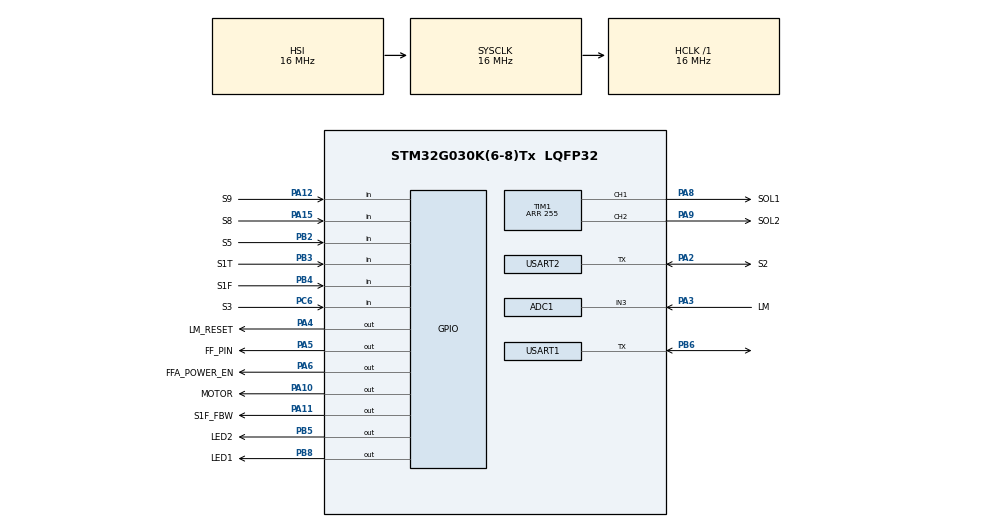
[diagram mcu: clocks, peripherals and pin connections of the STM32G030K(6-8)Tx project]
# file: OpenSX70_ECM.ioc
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ADC1.AWD1HighThreshold=4095
ADC1.AWD1ITMode=ENABLE
ADC1.Channel-0\#ChannelRegularConversion=ADC_CHANNEL_3
ADC1.ContinuousConvMode=ENABLE
ADC1.EnableAnalogWatchDog1=true
ADC1.EnableAnalogWatchDog2=false
ADC1.EnableAnalogWatchDog3=false
ADC1.NbrOfConversion=1
ADC1.NbrOfConversionFlag=1
ADC1.Rank-0\#ChannelRegularConversion=1
ADC1.SamplingTime-0\#ChannelRegularConversion=ADC_SAMPLINGTIME_COMMON_1
ADC1.SelectedChannel=ADC_CHANNEL_3
ADC1.master=1
Mcu.Family=STM32G0
Mcu.Name=STM32G030K(6-8)Tx
Mcu.Package=LQFP32
NVIC.ADC1_IRQn=true\:0\:0\:false\:false\:true\:true\:true\:true
NVIC.TIM14_IRQn=true\:0\:0\:false\:false\:true\:true\:true\:true
NVIC.TIM16_IRQn=true\:0\:0\:false\:false\:true\:true\:true\:true
NVIC.TIM17_IRQn=true\:0\:0\:false\:false\:true\:true\:true\:true
NVIC.TIM3_IRQn=true\:0\:0\:false\:false\:true\:true\:true\:true
NVIC.USART1_IRQn=true\:0\:0\:false\:false\:true\:true\:true\:true
NVIC.USART2_IRQn=true\:0\:0\:false\:false\:true\:true\:true\:true
PA10.GPIO_Label=MOTOR
PA10.Signal=GPIO_Output
PA11\ [PA9].GPIO_Label=S1F_FBW
PA11\ [PA9].Signal=GPIO_Output
PA12\ [PA10].GPIO_Label=S9
PA12\ [PA10].Signal=GPIO_Input
PA13.Mode=Serial_Wire
PA13.Signal=SYS_SWDIO
PA14-BOOT0.Mode=Serial_Wire
PA14-BOOT0.Signal=SYS_SWCLK
PA15.GPIO_Label=S8
PA15.Signal=GPIO_Input
PA2.GPIO_Label=S2
PA2.Mode=Half_duplex(single_wire_mode)
PA2.Signal=USART2_TX
PA3.GPIO_Label=LM
PA3.Mode=IN3
PA3.Signal=ADC1_IN3
PA4.GPIO_Label=LM_RESET
PA4.GPIO_Speed=GPIO_SPEED_FREQ_VERY_HIGH
PA4.Signal=GPIO_Output
PA5.GPIO_Label=FF_PIN
PA5.Signal=GPIO_Output
PA6.GPIO_Label=FFA_POWER_EN
PA6.PinState=GPIO_PIN_SET
PA6.Signal=GPIO_Output
PA8.GPIO_Label=SOL1
PA8.Signal=S_TIM1_CH1
PA9.GPIO_Label=SOL2
PA9.Signal=S_TIM1_CH2
PB2.GPIO_Label=S5
PB2.GPIO_PuPd=GPIO_PULLUP
PB2.Signal=GPIO_Input
PB3.GPIO_Label=S1T
PB3.Signal=GPIO_Input
PB4.GPIO_Label=S1F
PB4.Signal=GPIO_Input
PB5.GPIO_Label=LED2
PB5.Signal=GPIO_Output
PB6.Mode=Half_duplex(single_wire_mode)
PB6.Signal=USART1_TX
PB7.Signal=USART1_RX
PB8.GPIO_Label=LED1
PB8.Signal=GPIO_Output
PC6.GPIO_Label=S3
PC6.GPIO_PuPd=GPIO_PULLUP
PC6.Signal=GPIO_Input
ProjectManager.HeapSize=0x200
ProjectManager.StackSize=0x400
ProjectManager.TargetToolchain=CMake
RCC.AHBFreq_Value=16000000
RCC.CortexFreq_Value=16000000
RCC.EXTERNAL_CLOCK_VALUE=12288000
RCC.HCLKFreq_Value=16000000
RCC.HSE_VALUE=8000000
RCC.HSI_VALUE=16000000
RCC.LSE_VALUE=32768
RCC.SYSCLKFreq_VALUE=16000000
RCC.VCOOutputFreq_Value=128000000
SH.S_TIM1_CH1.0=TIM1_CH1,PWM Generation1 CH1
SH.S_TIM1_CH2.0=TIM1_CH2,PWM Generation2 CH2
TIM1.Channel-PWM\ Generation1\ CH1=TIM_CHANNEL_1
TIM1.Channel-PWM\ Generation2\ CH2=TIM_CHANNEL_2
TIM1.Period=255
TIM14.Period=39999
TIM14.Prescaler=1
TIM16.Period=55999
TIM16.Prescaler=15
TIM17.Period=47999
TIM17.Prescaler=3
TIM3.Period=65501
TIM3.Prescaler=3663
USART1.BaudRate=9600
USART1.VirtualMode-Half_duplex(single_wire_mode)=VM_ASYNC
USART2.VirtualMode-Half_duplex(single_wire_mode)=VM_ASYNC
VP_TIM14_VS_ClockSourceINT.Mode=Enable_Timer
VP_TIM16_VS_ClockSourceINT.Mode=Enable_Timer
VP_TIM17_VS_ClockSourceINT.Mode=Enable_Timer
VP_TIM1_VS_ClockSourceINT.Mode=Internal
VP_TIM3_VS_ClockSourceINT.Mode=Internal
board=custom

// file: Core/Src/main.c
/* USER CODE BEGIN Header */
/**
  ******************************************************************************
  * @file           : main.c
  * @brief          : Main program body
  ******************************************************************************
  * @attention
  *
  * Copyright (c) 2025 STMicroelectronics.
  * All rights reserved.
  *
  * This software is licensed under terms that can be found in the LICENSE file
  * in the root directory of this software component.
  * If no LICENSE file comes with this software, it is provided AS-IS.
  *
  ******************************************************************************
  */
/* USER CODE END Header */
#include "main.h"

/* USER CODE BEGIN Includes */
#include "opensx70.h"
#include "camerafunctions.h"
#include "meter.h"
#include "pollers.h"
/* USER CODE END Includes */

ADC_HandleTypeDef hadc1;

TIM_HandleTypeDef htim1;
TIM_HandleTypeDef htim3;
TIM_HandleTypeDef htim14;
TIM_HandleTypeDef htim16;
TIM_HandleTypeDef htim17;

UART_HandleTypeDef huart1;
UART_HandleTypeDef huart2;

/* USER CODE BEGIN PV */
ADC_AnalogWDGConfTypeDef AnalogWDGConfig = {0};
/* USER CODE END PV */

void SystemClock_Config(void);
static void MX_GPIO_Init(void);
static void MX_ADC1_Init(void);
static void MX_TIM1_Init(void);
static void MX_USART1_UART_Init(void);
static void MX_USART2_UART_Init(void);
static void MX_TIM3_Init(void);
static void MX_TIM16_Init(void);
static void MX_TIM17_Init(void);
static void MX_TIM14_Init(void);

int main(void)
{

  /* MCU Configuration--------------------------------------------------------*/

  /* Reset of all peripherals, Initializes the Flash interface and the Systick. */
  HAL_Init();

  /* Configure the system clock */
  SystemClock_Config();

  /* Initialize all configured peripherals */
  MX_GPIO_Init();
  MX_ADC1_Init();
  MX_TIM1_Init();
  MX_USART1_UART_Init();
  MX_USART2_UART_Init();
  MX_TIM3_Init();
  MX_TIM16_Init();
  MX_TIM17_Init();
  MX_TIM14_Init();
  /* USER CODE BEGIN 2 */
  HAL_ADC_Start(&hadc1);
  /* USER CODE END 2 */

  /* Infinite loop */
  while (1)
  {

    /* USER CODE BEGIN 3 */
  opensx70_run_state_machine();

}
  /* USER CODE END 3 */
}

void SystemClock_Config(void)
{
  RCC_OscInitTypeDef RCC_OscInitStruct = {0};
  RCC_ClkInitTypeDef RCC_ClkInitStruct = {0};

  /** Configure the main internal regulator output voltage
  */
  HAL_PWREx_ControlVoltageScaling(PWR_REGULATOR_VOLTAGE_SCALE1);

  /** Initializes the RCC Oscillators according to the specified parameters
  * in the RCC_OscInitTypeDef structure.
  */
  RCC_OscInitStruct.OscillatorType = RCC_OSCILLATORTYPE_HSI;
  RCC_OscInitStruct.HSIState = RCC_HSI_ON;
  RCC_OscInitStruct.HSIDiv = RCC_HSI_DIV1;
  RCC_OscInitStruct.HSICalibrationValue = RCC_HSICALIBRATION_DEFAULT;
  RCC_OscInitStruct.PLL.PLLState = RCC_PLL_NONE;
  if (HAL_RCC_OscConfig(&RCC_OscInitStruct) != HAL_OK)
  {
    Error_Handler();
  }

  /** Initializes the CPU, AHB and APB buses clocks
  */
  RCC_ClkInitStruct.ClockType = RCC_CLOCKTYPE_HCLK|RCC_CLOCKTYPE_SYSCLK
                              |RCC_CLOCKTYPE_PCLK1;
  RCC_ClkInitStruct.SYSCLKSource = RCC_SYSCLKSOURCE_HSI;
  RCC_ClkInitStruct.AHBCLKDivider = RCC_SYSCLK_DIV1;
  RCC_ClkInitStruct.APB1CLKDivider = RCC_HCLK_DIV1;

  if (HAL_RCC_ClockConfig(&RCC_ClkInitStruct, FLASH_LATENCY_0) != HAL_OK)
  {
    Error_Handler();
  }
}

static void MX_ADC1_Init(void)
{

  ADC_AnalogWDGConfTypeDef AnalogWDGConfig = {0};
  ADC_ChannelConfTypeDef sConfig = {0};

  /** Configure the global features of the ADC (Clock, Resolution, Data Alignment and number of conversion)
  */
  hadc1.Instance = ADC1;
  hadc1.Init.ClockPrescaler = ADC_CLOCK_SYNC_PCLK_DIV2;
  hadc1.Init.Resolution = ADC_RESOLUTION_12B;
  hadc1.Init.DataAlign = ADC_DATAALIGN_RIGHT;
  hadc1.Init.ScanConvMode = ADC_SCAN_DISABLE;
  hadc1.Init.EOCSelection = ADC_EOC_SINGLE_CONV;
  hadc1.Init.LowPowerAutoWait = DISABLE;
  hadc1.Init.LowPowerAutoPowerOff = DISABLE;
  hadc1.Init.ContinuousConvMode = ENABLE;
  hadc1.Init.NbrOfConversion = 1;
  hadc1.Init.ExternalTrigConv = ADC_SOFTWARE_START;
  hadc1.Init.ExternalTrigConvEdge = ADC_EXTERNALTRIGCONVEDGE_NONE;
  hadc1.Init.DMAContinuousRequests = DISABLE;
  hadc1.Init.Overrun = ADC_OVR_DATA_PRESERVED;
  hadc1.Init.SamplingTimeCommon1 = ADC_SAMPLETIME_1CYCLE_5;
  hadc1.Init.SamplingTimeCommon2 = ADC_SAMPLETIME_1CYCLE_5;
  hadc1.Init.OversamplingMode = DISABLE;
  hadc1.Init.TriggerFrequencyMode = ADC_TRIGGER_FREQ_HIGH;
  if (HAL_ADC_Init(&hadc1) != HAL_OK)
  {
    Error_Handler();
  }

  /** Configure Analog WatchDog 1
  */
  AnalogWDGConfig.WatchdogNumber = ADC_ANALOGWATCHDOG_1;
  AnalogWDGConfig.WatchdogMode = ADC_ANALOGWATCHDOG_SINGLE_REG;
  AnalogWDGConfig.Channel = ADC_CHANNEL_3;
  AnalogWDGConfig.ITMode = ENABLE;
  AnalogWDGConfig.HighThreshold = 4095;
  AnalogWDGConfig.LowThreshold = 0;
  if (HAL_ADC_AnalogWDGConfig(&hadc1, &AnalogWDGConfig) != HAL_OK)
  {
    Error_Handler();
  }

  /** Configure Regular Channel
  */
  sConfig.Channel = ADC_CHANNEL_3;
  sConfig.Rank = ADC_REGULAR_RANK_1;
  sConfig.SamplingTime = ADC_SAMPLINGTIME_COMMON_1;
  if (HAL_ADC_ConfigChannel(&hadc1, &sConfig) != HAL_OK)
  {
    Error_Handler();
  }

}

static void MX_TIM1_Init(void)
{

  TIM_ClockConfigTypeDef sClockSourceConfig = {0};
  TIM_MasterConfigTypeDef sMasterConfig = {0};
  TIM_OC_InitTypeDef sConfigOC = {0};
  TIM_BreakDeadTimeConfigTypeDef sBreakDeadTimeConfig = {0};

  htim1.Instance = TIM1;
  htim1.Init.Prescaler = 0;
  htim1.Init.CounterMode = TIM_COUNTERMODE_UP;
  htim1.Init.Period = 255;
  htim1.Init.ClockDivision = TIM_CLOCKDIVISION_DIV1;
  htim1.Init.RepetitionCounter = 0;
  htim1.Init.AutoReloadPreload = TIM_AUTORELOAD_PRELOAD_DISABLE;
  if (HAL_TIM_Base_Init(&htim1) != HAL_OK)
  {
    Error_Handler();
  }
  sClockSourceConfig.ClockSource = TIM_CLOCKSOURCE_INTERNAL;
  if (HAL_TIM_ConfigClockSource(&htim1, &sClockSourceConfig) != HAL_OK)
  {
    Error_Handler();
  }
  if (HAL_TIM_PWM_Init(&htim1) != HAL_OK)
  {
    Error_Handler();
  }
  sMasterConfig.MasterOutputTrigger = TIM_TRGO_RESET;
  sMasterConfig.MasterOutputTrigger2 = TIM_TRGO2_RESET;
  sMasterConfig.MasterSlaveMode = TIM_MASTERSLAVEMODE_DISABLE;
  if (HAL_TIMEx_MasterConfigSynchronization(&htim1, &sMasterConfig) != HAL_OK)
  {
    Error_Handler();
  }
  sConfigOC.OCMode = TIM_OCMODE_PWM1;
  sConfigOC.Pulse = 0;
  sConfigOC.OCPolarity = TIM_OCPOLARITY_HIGH;
  sConfigOC.OCNPolarity = TIM_OCNPOLARITY_HIGH;
  sConfigOC.OCFastMode = TIM_OCFAST_DISABLE;
  sConfigOC.OCIdleState = TIM_OCIDLESTATE_RESET;
  sConfigOC.OCNIdleState = TIM_OCNIDLESTATE_RESET;
  if (HAL_TIM_PWM_ConfigChannel(&htim1, &sConfigOC, TIM_CHANNEL_1) != HAL_OK)
  {
    Error_Handler();
  }
  if (HAL_TIM_PWM_ConfigChannel(&htim1, &sConfigOC, TIM_CHANNEL_2) != HAL_OK)
  {
    Error_Handler();
  }
  sBreakDeadTimeConfig.OffStateRunMode = TIM_OSSR_DISABLE;
  sBreakDeadTimeConfig.OffStateIDLEMode = TIM_OSSI_DISABLE;
  sBreakDeadTimeConfig.LockLevel = TIM_LOCKLEVEL_OFF;
  sBreakDeadTimeConfig.DeadTime = 0;
  sBreakDeadTimeConfig.BreakState = TIM_BREAK_DISABLE;
  sBreakDeadTimeConfig.BreakPolarity = TIM_BREAKPOLARITY_HIGH;
  sBreakDeadTimeConfig.BreakFilter = 0;
  sBreakDeadTimeConfig.BreakAFMode = TIM_BREAK_AFMODE_INPUT;
  sBreakDeadTimeConfig.Break2State = TIM_BREAK2_DISABLE;
  sBreakDeadTimeConfig.Break2Polarity = TIM_BREAK2POLARITY_HIGH;
  sBreakDeadTimeConfig.Break2Filter = 0;
  sBreakDeadTimeConfig.Break2AFMode = TIM_BREAK_AFMODE_INPUT;
  sBreakDeadTimeConfig.AutomaticOutput = TIM_AUTOMATICOUTPUT_DISABLE;
  if (HAL_TIMEx_ConfigBreakDeadTime(&htim1, &sBreakDeadTimeConfig) != HAL_OK)
  {
    Error_Handler();
  }
  HAL_TIM_MspPostInit(&htim1);

}

static void MX_TIM3_Init(void)
{

  TIM_ClockConfigTypeDef sClockSourceConfig = {0};
  TIM_MasterConfigTypeDef sMasterConfig = {0};

  htim3.Instance = TIM3;
  htim3.Init.Prescaler = 3663;
  htim3.Init.CounterMode = TIM_COUNTERMODE_UP;
  htim3.Init.Period = 65501;
  htim3.Init.ClockDivision = TIM_CLOCKDIVISION_DIV1;
  htim3.Init.AutoReloadPreload = TIM_AUTORELOAD_PRELOAD_DISABLE;
  if (HAL_TIM_Base_Init(&htim3) != HAL_OK)
  {
    Error_Handler();
  }
  sClockSourceConfig.ClockSource = TIM_CLOCKSOURCE_INTERNAL;
  if (HAL_TIM_ConfigClockSource(&htim3, &sClockSourceConfig) != HAL_OK)
  {
    Error_Handler();
  }
  sMasterConfig.MasterOutputTrigger = TIM_TRGO_RESET;
  sMasterConfig.MasterSlaveMode = TIM_MASTERSLAVEMODE_DISABLE;
  if (HAL_TIMEx_MasterConfigSynchronization(&htim3, &sMasterConfig) != HAL_OK)
  {
    Error_Handler();
  }
  /* USER CODE BEGIN TIM3_Init 2 */
  HAL_NVIC_EnableIRQ(TIM3_IRQn);
  /* USER CODE END TIM3_Init 2 */

}

static void MX_TIM14_Init(void)
{

  htim14.Instance = TIM14;
  htim14.Init.Prescaler = 1;
  htim14.Init.CounterMode = TIM_COUNTERMODE_UP;
  htim14.Init.Period = 39999;
  htim14.Init.ClockDivision = TIM_CLOCKDIVISION_DIV1;
  htim14.Init.AutoReloadPreload = TIM_AUTORELOAD_PRELOAD_DISABLE;
  if (HAL_TIM_Base_Init(&htim14) != HAL_OK)
  {
    Error_Handler();
  }

}

static void MX_TIM16_Init(void)
{

  htim16.Instance = TIM16;
  htim16.Init.Prescaler = 15;
  htim16.Init.CounterMode = TIM_COUNTERMODE_UP;
  htim16.Init.Period = 55999;
  htim16.Init.ClockDivision = TIM_CLOCKDIVISION_DIV1;
  htim16.Init.RepetitionCounter = 0;
  htim16.Init.AutoReloadPreload = TIM_AUTORELOAD_PRELOAD_DISABLE;
  if (HAL_TIM_Base_Init(&htim16) != HAL_OK)
  {
    Error_Handler();
  }
  /* USER CODE BEGIN TIM16_Init 2 */
  HAL_NVIC_EnableIRQ(TIM16_IRQn);
  /* USER CODE END TIM16_Init 2 */

}

static void MX_TIM17_Init(void)
{

  htim17.Instance = TIM17;
  htim17.Init.Prescaler = 3;
  htim17.Init.CounterMode = TIM_COUNTERMODE_UP;
  htim17.Init.Period = 47999;
  htim17.Init.ClockDivision = TIM_CLOCKDIVISION_DIV1;
  htim17.Init.RepetitionCounter = 0;
  htim17.Init.AutoReloadPreload = TIM_AUTORELOAD_PRELOAD_DISABLE;
  if (HAL_TIM_Base_Init(&htim17) != HAL_OK)
  {
    Error_Handler();
  }
  /* USER CODE BEGIN TIM17_Init 2 */
  HAL_NVIC_EnableIRQ(TIM17_IRQn);
  /* USER CODE END TIM17_Init 2 */

}

static void MX_USART1_UART_Init(void)
{

  huart1.Instance = USART1;
  huart1.Init.BaudRate = 9600;
  huart1.Init.WordLength = UART_WORDLENGTH_8B;
  huart1.Init.StopBits = UART_STOPBITS_1;
  huart1.Init.Parity = UART_PARITY_NONE;
  huart1.Init.Mode = UART_MODE_TX_RX;
  huart1.Init.HwFlowCtl = UART_HWCONTROL_NONE;
  huart1.Init.OverSampling = UART_OVERSAMPLING_16;
  huart1.Init.OneBitSampling = UART_ONE_BIT_SAMPLE_DISABLE;
  huart1.Init.ClockPrescaler = UART_PRESCALER_DIV1;
  huart1.AdvancedInit.AdvFeatureInit = UART_ADVFEATURE_NO_INIT;
  if (HAL_HalfDuplex_Init(&huart1) != HAL_OK)
  {
    Error_Handler();
  }
  if (HAL_UARTEx_SetTxFifoThreshold(&huart1, UART_TXFIFO_THRESHOLD_1_8) != HAL_OK)
  {
    Error_Handler();
  }
  if (HAL_UARTEx_SetRxFifoThreshold(&huart1, UART_RXFIFO_THRESHOLD_1_8) != HAL_OK)
  {
    Error_Handler();
  }
  if (HAL_UARTEx_DisableFifoMode(&huart1) != HAL_OK)
  {
    Error_Handler();
  }

}

static void MX_USART2_UART_Init(void)
{

  huart2.Instance = USART2;
  huart2.Init.BaudRate = 115200;
  huart2.Init.WordLength = UART_WORDLENGTH_8B;
  huart2.Init.StopBits = UART_STOPBITS_1;
  huart2.Init.Parity = UART_PARITY_NONE;
  huart2.Init.Mode = UART_MODE_TX_RX;
  huart2.Init.HwFlowCtl = UART_HWCONTROL_NONE;
  huart2.Init.OverSampling = UART_OVERSAMPLING_16;
  huart2.Init.OneBitSampling = UART_ONE_BIT_SAMPLE_DISABLE;
  huart2.Init.ClockPrescaler = UART_PRESCALER_DIV1;
  huart2.AdvancedInit.AdvFeatureInit = UART_ADVFEATURE_NO_INIT;
  if (HAL_HalfDuplex_Init(&huart2) != HAL_OK)
  {
    Error_Handler();
  }
  /* USER CODE BEGIN USART2_Init 2 */
  HAL_NVIC_EnableIRQ(USART2_IRQn);
  /* USER CODE END USART2_Init 2 */

}

static void MX_GPIO_Init(void)
{
  GPIO_InitTypeDef GPIO_InitStruct = {0};

  /* GPIO Ports Clock Enable */
  __HAL_RCC_GPIOA_CLK_ENABLE();
  __HAL_RCC_GPIOB_CLK_ENABLE();
  __HAL_RCC_GPIOC_CLK_ENABLE();

  /*Configure GPIO pin Output Level */
  HAL_GPIO_WritePin(GPIOA, LM_RESET_Pin|FF_PIN_Pin|MOTOR_Pin|S1F_FBW_Pin, GPIO_PIN_RESET);

  /*Configure GPIO pin Output Level */
  HAL_GPIO_WritePin(FFA_POWER_EN_GPIO_Port, FFA_POWER_EN_Pin, GPIO_PIN_SET);

  /*Configure GPIO pin Output Level */
  HAL_GPIO_WritePin(GPIOB, LED2_Pin|LED1_Pin, GPIO_PIN_RESET);

  /*Configure GPIO pin : LM_RESET_Pin */
  GPIO_InitStruct.Pin = LM_RESET_Pin;
  GPIO_InitStruct.Mode = GPIO_MODE_OUTPUT_PP;
  GPIO_InitStruct.Pull = GPIO_NOPULL;
  GPIO_InitStruct.Speed = GPIO_SPEED_FREQ_VERY_HIGH;
  HAL_GPIO_Init(LM_RESET_GPIO_Port, &GPIO_InitStruct);

  /*Configure GPIO pins : FF_PIN_Pin FFA_POWER_EN_Pin MOTOR_Pin S1F_FBW_Pin */
  GPIO_InitStruct.Pin = FF_PIN_Pin|FFA_POWER_EN_Pin|MOTOR_Pin|S1F_FBW_Pin;
  GPIO_InitStruct.Mode = GPIO_MODE_OUTPUT_PP;
  GPIO_InitStruct.Pull = GPIO_NOPULL;
  GPIO_InitStruct.Speed = GPIO_SPEED_FREQ_LOW;
  HAL_GPIO_Init(GPIOA, &GPIO_InitStruct);

  /*Configure GPIO pin : S5_Pin */
  GPIO_InitStruct.Pin = S5_Pin;
  GPIO_InitStruct.Mode = GPIO_MODE_INPUT;
  GPIO_InitStruct.Pull = GPIO_PULLUP;
  HAL_GPIO_Init(S5_GPIO_Port, &GPIO_InitStruct);

  /*Configure GPIO pin : S3_Pin */
  GPIO_InitStruct.Pin = S3_Pin;
  GPIO_InitStruct.Mode = GPIO_MODE_INPUT;
  GPIO_InitStruct.Pull = GPIO_PULLUP;
  HAL_GPIO_Init(S3_GPIO_Port, &GPIO_InitStruct);

  /*Configure GPIO pins : S9_Pin S8_Pin */
  GPIO_InitStruct.Pin = S9_Pin|S8_Pin;
  GPIO_InitStruct.Mode = GPIO_MODE_INPUT;
  GPIO_InitStruct.Pull = GPIO_NOPULL;
  HAL_GPIO_Init(GPIOA, &GPIO_InitStruct);

  /*Configure GPIO pins : S1T_Pin S1F_Pin */
  GPIO_InitStruct.Pin = S1T_Pin|S1F_Pin;
  GPIO_InitStruct.Mode = GPIO_MODE_INPUT;
  GPIO_InitStruct.Pull = GPIO_NOPULL;
  HAL_GPIO_Init(GPIOB, &GPIO_InitStruct);

  /*Configure GPIO pins : LED2_Pin LED1_Pin */
  GPIO_InitStruct.Pin = LED2_Pin|LED1_Pin;
  GPIO_InitStruct.Mode = GPIO_MODE_OUTPUT_PP;
  GPIO_InitStruct.Pull = GPIO_NOPULL;
  GPIO_InitStruct.Speed = GPIO_SPEED_FREQ_LOW;
  HAL_GPIO_Init(GPIOB, &GPIO_InitStruct);

}

/* USER CODE BEGIN 4 */
void HAL_TIM_PeriodElapsedCallback(TIM_HandleTypeDef *htim)
{
  if (htim->Instance == TIM3){
    tim3_timeout_flag = 1;
    tim3_overflow_count++;
  }
  else if (htim->Instance == TIM14){
    poll();
  }
  else if (htim->Instance == TIM16){
    HAL_TIM_Base_Stop_IT(&htim16);
    tim16_timeout_flag = 1;
  }
  else if (htim->Instance == TIM17){
    HAL_TIM_Base_Stop_IT(&htim17);
    tim17_timeout_flag = 1;
  }
}

/* USER CODE END 4 */

void Error_Handler(void)
{
  __disable_irq();
  while (1)
  {
  }
}
